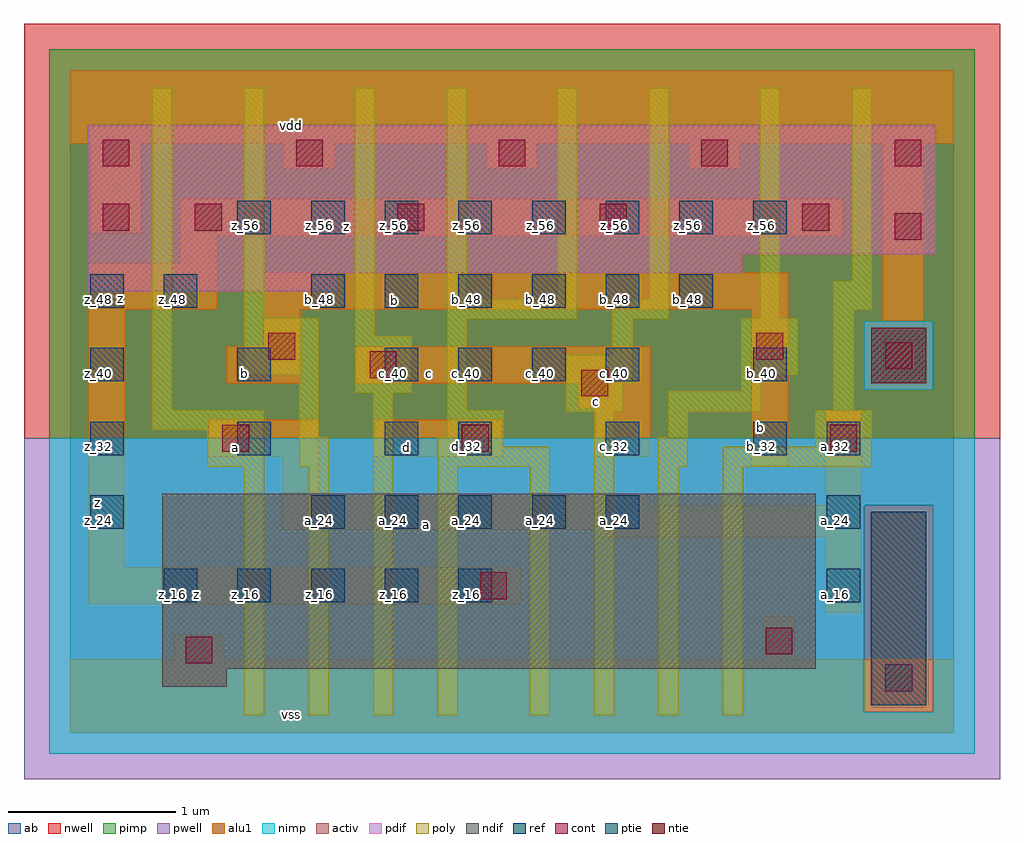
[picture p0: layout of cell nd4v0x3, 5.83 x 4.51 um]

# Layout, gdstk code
import gdstk
lib = gdstk.Library(unit=1e-6, precision=2.5e-09)
def R(c, l, rs):  # rectangles x0, y0, x1, y1
    for r in rs: c.add(gdstk.rectangle(r[:2], r[2:], *l))
def A(c, l, x, y, w, h, nx, ny, dx, dy):  # array of equal rectangles
    R(c, l, [(x+i*dx, y+j*dy, x+i*dx+w, y+j*dy+h) for i in range(nx) for j in range(ny)])
ndif = (3, 0)
pdif = (4, 0)
ntie = (5, 0)
ptie = (6, 0)
ref = (24, 0)
cont = (25, 0)
pwell = (41, 0)
nwell = (42, 0)
activ = (43, 0)
pimp = (44, 0)
nimp = (45, 0)
poly = (46, 0)
alu1 = (49, 0)
ab = (63, 0)

nd4v0x3 = lib.new_cell('nd4v0x3')
R(nd4v0x3, ndif, [(0.55,0.275,0.935,0.385), (0.55,0.385,4.455,1.43)])
R(nd4v0x3, pdif, [(0.11,2.64,1.595,2.75), (0.11,2.75,4.015,2.86), (0.11,2.86,5.17,3.63)])
R(nd4v0x3, ntie, [(4.785,2.09,5.115,2.42)])
R(nd4v0x3, ptie, [(4.785,0.165,5.115,1.32)])
A(nd4v0x3, ref, 0.56, 0.78, 0.2, 0.2, 5, 1, 0.44, 0)
A(nd4v0x3, ref, 4.52, 0.78, 0.2, 0.2, 1, 3, 0, 0.44)
A(nd4v0x3, ref, 1.44, 1.22, 0.2, 0.2, 5, 1, 0.44, 0)
A(nd4v0x3, ref, 0.12, 1.66, 0.2, 0.2, 3, 2, 0.88, 0.44)
A(nd4v0x3, ref, 2.32, 1.66, 0.2, 0.2, 3, 1, 0.88, 0)
A(nd4v0x3, ref, 2.32, 2.1, 0.2, 0.2, 3, 1, 0.44, 0)
A(nd4v0x3, ref, 1.44, 2.54, 0.2, 0.2, 6, 1, 0.44, 0)
A(nd4v0x3, ref, 1, 2.98, 0.2, 0.2, 8, 1, 0.44, 0)
R(nd4v0x3, ref, [(0.12,1.22,0.32,1.42), (4.08,2.1,4.28,2.3), (0.12,2.54,0.32,2.74), (0.56,2.54,0.76,2.74)])
A(nd4v0x3, cont, 0.745, 3, 0.16, 0.16, 4, 1, 1.21, 0)
A(nd4v0x3, cont, 1.35, 3.385, 0.16, 0.16, 3, 1, 1.21, 0)
R(nd4v0x3, cont, [(4.87,0.25,5.03,0.41), (0.69,0.415,0.85,0.575), (4.155,0.47,4.315,0.63), (2.45,0.8,2.61,0.96), (0.91,1.68,1.07,1.84), (2.34,1.68,2.5,1.84), (4.54,1.68,4.7,1.84), (3.055,2.01,3.215,2.17), (1.79,2.12,1.95,2.28), (4.87,2.175,5.03,2.335), (1.185,2.23,1.345,2.39), (4.1,2.23,4.26,2.39), (4.925,2.945,5.085,3.105), (0.195,3,0.355,3.16), (0.195,3.385,0.355,3.545), (4.925,3.385,5.085,3.545)])
R(nd4v0x3, pwell, [(-0.275,-0.275,5.555,1.76)])
R(nd4v0x3, nwell, [(-0.275,1.76,5.555,4.235)])
R(nd4v0x3, activ, [(4.785,0.165,5.115,1.32), (0.55,0.275,0.935,0.385), (0.55,0.385,4.455,1.43), (4.785,2.09,5.115,2.42), (0.11,2.64,1.595,2.75), (0.11,2.75,4.015,2.86), (0.11,2.86,5.17,3.63)])
R(nd4v0x3, pimp, [(4.745,0.125,5.155,1.36), (-0.125,1.76,5.405,2.05), (-0.125,2.05,4.745,2.46), (5.155,2.05,5.405,2.46), (-0.125,2.46,5.405,4.085)])
R(nd4v0x3, nimp, [(-0.125,-0.125,5.405,0.125), (-0.125,0.125,4.745,1.36), (5.155,0.125,5.405,1.36), (-0.125,1.36,5.405,1.76), (4.745,2.05,5.155,2.46)])
R(nd4v0x3, poly, [(1.04,0.105,1.16,1.59), (1.425,0.105,1.545,1.59), (1.81,0.105,1.93,2.03), (2.195,0.105,2.315,1.59), (2.745,0.105,2.865,1.59), (3.13,0.105,3.25,1.92), (3.515,0.105,3.635,1.59), (3.9,0.105,4.02,1.59), (0.82,1.59,1.16,1.81), (1.37,1.59,1.545,1.765), (2.195,1.59,2.865,1.71), (3.515,1.59,3.69,1.765), (3.9,1.59,4.79,1.71), (2.195,1.71,2.59,1.765), (4.45,1.71,4.79,1.93), (1.37,1.765,1.49,2.14), (2.25,1.765,2.59,1.93), (3.57,1.765,3.69,1.92), (0.49,1.81,1.16,1.93), (2.965,1.92,3.305,2.085), (3.57,1.92,4.13,2.04), (0.49,1.93,0.61,3.855), (2.25,1.93,2.37,2.47), (4.56,1.93,4.68,2.525), (1.7,2.03,2.04,2.37), (4.01,2.04,4.13,2.14), (2.965,2.085,3.36,2.26), (1.04,2.14,1.49,2.48), (4.01,2.14,4.35,2.48), (3.24,2.26,3.36,2.47), (1.7,2.37,1.82,3.855), (2.25,2.47,3.03,2.59), (3.24,2.47,3.58,2.59), (1.04,2.48,1.16,3.855), (4.12,2.48,4.24,3.855), (4.56,2.525,4.79,2.7), (2.25,2.59,2.37,3.855), (2.91,2.59,3.03,3.855), (3.46,2.59,3.58,3.855), (4.67,2.7,4.79,3.855)])
A(nd4v0x3, alu1, 1.28, 3.37, 0.3, 0.15, 3, 1, 1.21, 0)
R(nd4v0x3, alu1, [(0,0,5.28,0.44), (0.62,0.44,0.92,0.59), (4.14,0.44,4.33,0.7), (4.51,0.715,4.73,1.17), (0.11,0.77,2.695,0.99), (0.11,0.99,0.33,2.53), (3.15,1.17,4.73,1.21), (1.265,1.21,4.73,1.36), (1.265,1.36,3.465,1.43), (4.51,1.36,4.73,1.925), (1.265,1.43,1.485,1.65), (4.07,1.595,4.29,2.53), (0.825,1.65,1.485,1.87), (1.815,1.65,2.585,1.87), (3.135,1.65,3.465,1.94), (3.04,1.94,3.465,2.09), (0.935,2.09,1.375,2.31), (1.705,2.09,3.465,2.31), (4.855,2.105,5.1,3.52), (1.155,2.31,1.375,2.53), (0.11,2.53,0.88,2.805), (1.155,2.53,4.29,2.75), (0.66,2.805,0.88,2.97), (0.66,2.97,4.62,3.19), (0.125,2.985,0.425,3.52), (0,3.52,5.28,3.96)])
R(nd4v0x3, ab, [(0,0,5.28,3.96)])
nd4v0x3.add(gdstk.Label('vss', (1.32,0.11), layer=49, texttype=0))
nd4v0x3.add(gdstk.Label('z', (0.755,0.825), layer=49, texttype=0))
nd4v0x3.add(gdstk.Label('a', (2.13,1.2475), layer=49, texttype=0))
nd4v0x3.add(gdstk.Label('b', (4.125,1.8275), layer=49, texttype=0))
nd4v0x3.add(gdstk.Label('d', (2.0075,1.705), layer=49, texttype=0))
nd4v0x3.add(gdstk.Label('a', (0.99,1.705), layer=49, texttype=0))
nd4v0x3.add(gdstk.Label('c', (3.145,1.9775), layer=49, texttype=0))
nd4v0x3.add(gdstk.Label('c', (2.145,2.145), layer=49, texttype=0))
nd4v0x3.add(gdstk.Label('b', (1.045,2.145), layer=49, texttype=0))
nd4v0x3.add(gdstk.Label('z', (0.165,1.375), layer=49, texttype=0))
nd4v0x3.add(gdstk.Label('b', (1.9375,2.585), layer=49, texttype=0))
nd4v0x3.add(gdstk.Label('z', (0.3025,2.5975), layer=49, texttype=0))
nd4v0x3.add(gdstk.Label('z', (1.65,3.025), layer=49, texttype=0))
nd4v0x3.add(gdstk.Label('vdd', (1.32,3.63), layer=49, texttype=0))
nd4v0x3.add(gdstk.Label('z_16', (0.61,0.83), layer=24, texttype=0))
nd4v0x3.add(gdstk.Label('z_48', (0.61,2.59), layer=24, texttype=0))
nd4v0x3.add(gdstk.Label('z_16', (1.05,0.83), layer=24, texttype=0))
nd4v0x3.add(gdstk.Label('a_32', (1.05,1.71), layer=24, texttype=0))
nd4v0x3.add(gdstk.Label('b_40', (1.05,2.15), layer=24, texttype=0))
nd4v0x3.add(gdstk.Label('z_56', (1.05,3.03), layer=24, texttype=0))
nd4v0x3.add(gdstk.Label('z_16', (1.49,0.83), layer=24, texttype=0))
nd4v0x3.add(gdstk.Label('a_24', (1.49,1.27), layer=24, texttype=0))
nd4v0x3.add(gdstk.Label('b_48', (1.49,2.59), layer=24, texttype=0))
nd4v0x3.add(gdstk.Label('z_56', (1.49,3.03), layer=24, texttype=0))
nd4v0x3.add(gdstk.Label('z_16', (1.93,0.83), layer=24, texttype=0))
nd4v0x3.add(gdstk.Label('a_24', (1.93,1.27), layer=24, texttype=0))
nd4v0x3.add(gdstk.Label('d_32', (1.93,1.71), layer=24, texttype=0))
nd4v0x3.add(gdstk.Label('c_40', (1.93,2.15), layer=24, texttype=0))
nd4v0x3.add(gdstk.Label('b_48', (1.93,2.59), layer=24, texttype=0))
nd4v0x3.add(gdstk.Label('z_56', (1.93,3.03), layer=24, texttype=0))
nd4v0x3.add(gdstk.Label('z_24', (0.17,1.27), layer=24, texttype=0))
nd4v0x3.add(gdstk.Label('z_32', (0.17,1.71), layer=24, texttype=0))
nd4v0x3.add(gdstk.Label('z_40', (0.17,2.15), layer=24, texttype=0))
nd4v0x3.add(gdstk.Label('z_48', (0.17,2.59), layer=24, texttype=0))
nd4v0x3.add(gdstk.Label('z_16', (2.37,0.83), layer=24, texttype=0))
nd4v0x3.add(gdstk.Label('a_24', (2.37,1.27), layer=24, texttype=0))
nd4v0x3.add(gdstk.Label('d_32', (2.37,1.71), layer=24, texttype=0))
nd4v0x3.add(gdstk.Label('c_40', (2.37,2.15), layer=24, texttype=0))
nd4v0x3.add(gdstk.Label('b_48', (2.37,2.59), layer=24, texttype=0))
nd4v0x3.add(gdstk.Label('z_56', (2.37,3.03), layer=24, texttype=0))
nd4v0x3.add(gdstk.Label('a_24', (2.81,1.27), layer=24, texttype=0))
nd4v0x3.add(gdstk.Label('c_40', (2.81,2.15), layer=24, texttype=0))
nd4v0x3.add(gdstk.Label('b_48', (2.81,2.59), layer=24, texttype=0))
nd4v0x3.add(gdstk.Label('z_56', (2.81,3.03), layer=24, texttype=0))
nd4v0x3.add(gdstk.Label('a_24', (3.25,1.27), layer=24, texttype=0))
nd4v0x3.add(gdstk.Label('c_32', (3.25,1.71), layer=24, texttype=0))
nd4v0x3.add(gdstk.Label('c_40', (3.25,2.15), layer=24, texttype=0))
nd4v0x3.add(gdstk.Label('b_48', (3.25,2.59), layer=24, texttype=0))
nd4v0x3.add(gdstk.Label('z_56', (3.25,3.03), layer=24, texttype=0))
nd4v0x3.add(gdstk.Label('b_48', (3.69,2.59), layer=24, texttype=0))
nd4v0x3.add(gdstk.Label('z_56', (3.69,3.03), layer=24, texttype=0))
nd4v0x3.add(gdstk.Label('b_32', (4.13,1.71), layer=24, texttype=0))
nd4v0x3.add(gdstk.Label('b_40', (4.13,2.15), layer=24, texttype=0))
nd4v0x3.add(gdstk.Label('z_56', (4.13,3.03), layer=24, texttype=0))
nd4v0x3.add(gdstk.Label('a_16', (4.57,0.83), layer=24, texttype=0))
nd4v0x3.add(gdstk.Label('a_24', (4.57,1.27), layer=24, texttype=0))
nd4v0x3.add(gdstk.Label('a_32', (4.57,1.71), layer=24, texttype=0))

lib.write_gds('nd4v0x3.gds')
